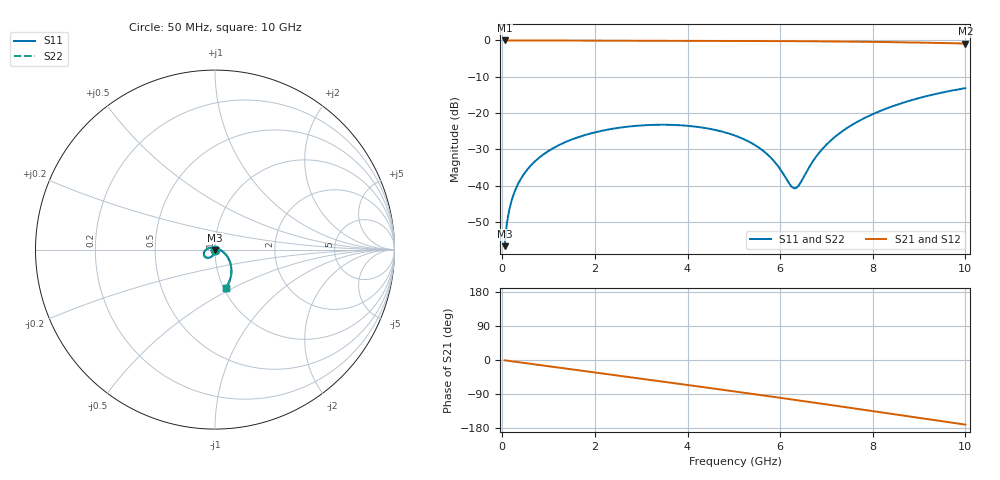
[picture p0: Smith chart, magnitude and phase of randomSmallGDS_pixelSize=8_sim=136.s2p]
! freq	dB(S11)	phase(S11)	dB(S12)	phase(S12)
!  dB(S21)	phase(S21)	dB(S22)	phase(S22)
!S-par simulation data
#  GHz  S  DB  R 50
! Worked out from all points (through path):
!   200 points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, 50 MHz to 10 GHz, reference 50 ohm
!   highest |S21| = 0.00 dB at 50 MHz (marker M1); lowest = -0.8 dB at 10 GHz (marker M2)
!   group delay of S21, straight-line fit = 47.3 ps
!   lowest |S11| = -56.7 dB at 50 MHz (marker M3), VSWR 1.00, Z = 50 - j0.146 ohm
!   |S11| at or under -10 dB: start of sweep to end of sweep
!   |S22| runs from -56.7 to -13.1 dB; largest |S21 - S12| = 0
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0.05  -56.68 -96.7  -0.00 -0.8  -0.00 -0.8  -56.66 -96.8
0.1  -50.29 -95.3  -0.00 -1.7  -0.00 -1.7  -50.28 -95.3
0.15  -46.68 -95.1  -0.00 -2.5  -0.00 -2.5  -46.68 -95.1
0.2  -44.16 -95.3  -0.00 -3.3  -0.00 -3.3  -44.16 -95.3
0.35  -39.30 -97.1  -0.00 -5.8  -0.00 -5.8  -39.29 -97.2
0.5  -36.23 -99.4  -0.01 -8.3  -0.01 -8.3  -36.23 -99.4
1  -30.43 -107.7  -0.02 -16.5  -0.02 -16.5  -30.43 -107.7
1.75  -26.20 -120.3  -0.04 -28.8  -0.04 -28.8  -26.20 -120.4
2.55  -24.00 -133.9  -0.06 -41.9  -0.06 -41.9  -24.00 -133.9
3.4  -23.22 -148.6  -0.08 -56.0  -0.08 -56.0  -23.22 -148.6
4.3  -23.97 -165.0  -0.11 -70.9  -0.11 -70.9  -23.97 -165.0
5.05  -26.33 179.4  -0.13 -83.5  -0.13 -83.5  -26.33 179.3
5.7  -31.11 159.8  -0.16 -94.6  -0.16 -94.6  -31.10 159.7
5.9  -33.75 149.0  -0.17 -98.0  -0.17 -98.0  -33.74 148.8
6.3  -40.74 83.0  -0.20 -104.9  -0.20 -104.9  -40.64 82.9
6.4  -39.97 52.9  -0.20 -106.7  -0.20 -106.7  -39.88 53.0
6.7  -33.42 7.0  -0.23 -111.9  -0.23 -111.9  -33.39 7.3
7  -28.69 -9.2  -0.26 -117.2  -0.26 -117.2  -28.68 -9.1
7.35  -24.94 -20.5  -0.29 -123.3  -0.29 -123.3  -24.94 -20.4
8.35  -18.49 -43.0  -0.45 -141.1  -0.45 -141.1  -18.48 -42.9
9.2  -15.22 -59.4  -0.63 -156.3  -0.63 -156.3  -15.22 -59.3
10  -13.14 -73.9  -0.84 -170.5  -0.84 -170.5  -13.14 -73.8
